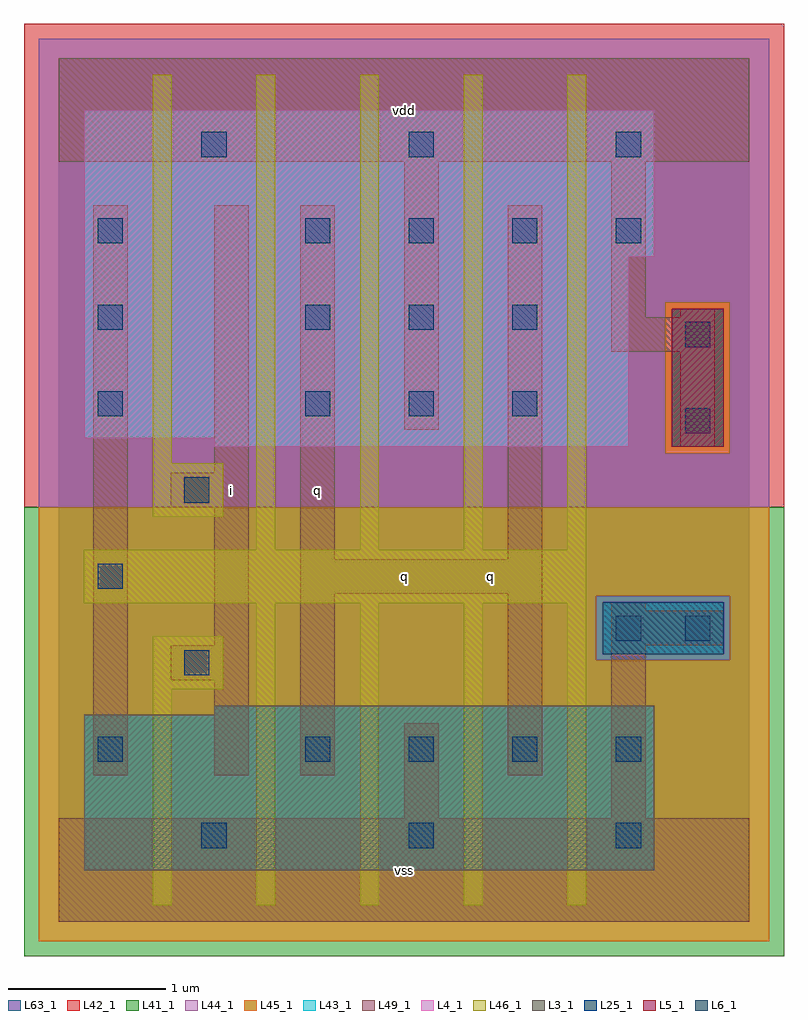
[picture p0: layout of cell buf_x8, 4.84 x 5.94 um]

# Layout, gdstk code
import gdstk
lib = gdstk.Library(unit=1e-6, precision=1e-09)
def R(c, l, rs):  # rectangles x0, y0, x1, y1
    for r in rs: c.add(gdstk.rectangle(r[:2], r[2:], *l))
def A(c, l, x, y, w, h, nx, ny, dx, dy):  # array of equal rectangles
    R(c, l, [(x+i*dx, y+j*dy, x+i*dx+w, y+j*dy+h) for i in range(nx) for j in range(ny)])
L3_1 = (3, 1)
L4_1 = (4, 1)
L5_1 = (5, 1)
L6_1 = (6, 1)
L25_1 = (25, 1)
L41_1 = (41, 1)
L42_1 = (42, 1)
L43_1 = (43, 1)
L44_1 = (44, 1)
L45_1 = (45, 1)
L46_1 = (46, 1)
L49_1 = (49, 1)
L63_1 = (63, 1)

buf_x8 = lib.new_cell('buf_x8')
R(buf_x8, L3_1, [(0.165,0.33,3.795,1.32), (0.99,1.32,3.795,1.375)])
R(buf_x8, L4_1, [(0.99,3.025,3.63,3.08), (0.165,3.08,3.63,4.235), (0.165,4.235,3.795,5.17)])
R(buf_x8, L5_1, [(3.905,3.025,4.235,3.905)])
R(buf_x8, L6_1, [(3.465,1.705,4.235,2.035)])
A(buf_x8, L25_1, 0.91, 0.47, 0.16, 0.16, 3, 2, 1.32, 4.4)
A(buf_x8, L25_1, 0.25, 1.02, 0.16, 0.16, 1, 3, 0, 1.1)
A(buf_x8, L25_1, 1.57, 1.02, 0.16, 0.16, 4, 2, 0.66, 3.3)
A(buf_x8, L25_1, 1.57, 3.22, 0.16, 0.16, 3, 2, 0.66, 0.55)
R(buf_x8, L25_1, [(0.8,1.57,0.96,1.73), (3.55,1.79,3.71,1.95), (3.99,1.79,4.15,1.95), (0.8,2.67,0.96,2.83), (3.99,3.11,4.15,3.27), (3.99,3.66,4.15,3.82), (0.25,3.77,0.41,3.93), (0.25,4.32,0.41,4.48)])
R(buf_x8, L41_1, [(-0.22,-0.22,4.62,2.64)])
R(buf_x8, L42_1, [(-0.22,2.64,4.62,5.72)])
R(buf_x8, L43_1, [(0.165,0.33,3.795,1.32), (0.99,1.32,3.795,1.375), (3.465,1.705,4.235,2.035), (0.99,3.025,3.63,3.08), (3.905,3.025,4.235,3.905), (0.165,3.08,3.63,4.235), (0.165,4.235,3.795,5.17)])
R(buf_x8, L44_1, [(3.425,1.665,4.275,2.075), (-0.125,2.64,4.525,2.985), (-0.125,2.985,3.865,3.945), (4.275,2.985,4.525,3.945), (-0.125,3.945,4.525,5.625)])
R(buf_x8, L45_1, [(-0.125,-0.125,4.525,1.665), (-0.125,1.665,3.425,2.075), (4.275,1.665,4.525,2.075), (-0.125,2.075,4.525,2.64), (3.865,2.985,4.275,3.945)])
A(buf_x8, L46_1, 1.26, 0.105, 0.12, 1.925, 4, 1, 0.66, 0)
A(buf_x8, L46_1, 1.26, 2.37, 0.12, 3.025, 4, 1, 0.66, 0)
R(buf_x8, L46_1, [(0.6,0.105,0.72,1.48), (0.6,1.48,1.05,1.82), (0.16,2.03,3.36,2.37), (0.6,2.58,1.05,2.92), (0.6,2.92,0.72,5.395)])
R(buf_x8, L49_1, [(0,0,4.4,0.66), (2.2,0.66,2.42,1.265), (3.52,0.66,3.74,1.76), (0.22,0.935,0.44,4.565), (0.99,0.935,1.21,1.54), (1.54,0.935,1.76,2.09), (2.86,0.935,3.08,2.09), (0.715,1.54,1.21,1.76), (0.99,1.76,1.21,2.64), (3.52,1.76,4.235,1.98), (3.52,1.98,3.74,2.035), (1.54,2.09,3.08,2.31), (1.54,2.31,1.76,4.565), (2.86,2.31,3.08,4.565), (0.715,2.64,1.21,2.86), (0.99,2.86,1.21,4.565), (3.96,3.025,4.18,3.63), (2.2,3.135,2.42,4.84), (3.52,3.63,4.18,3.85), (3.52,3.85,3.74,4.84), (3.96,3.85,4.18,3.905), (0,4.84,4.4,5.5)])
R(buf_x8, L63_1, [(0,0,4.4,5.5)])
buf_x8.add(gdstk.Label('q', (1.65,2.75), layer=49, texttype=1))
buf_x8.add(gdstk.Label('i', (1.1,2.75), layer=49, texttype=1))
buf_x8.add(gdstk.Label('vss', (2.2,0.33), layer=49, texttype=1))
buf_x8.add(gdstk.Label('q', (2.2,2.2), layer=49, texttype=1))
buf_x8.add(gdstk.Label('q', (2.75,2.2), layer=49, texttype=1))
buf_x8.add(gdstk.Label('vdd', (2.2,5.17), layer=49, texttype=1))

lib.write_gds('buf_x8.gds')
